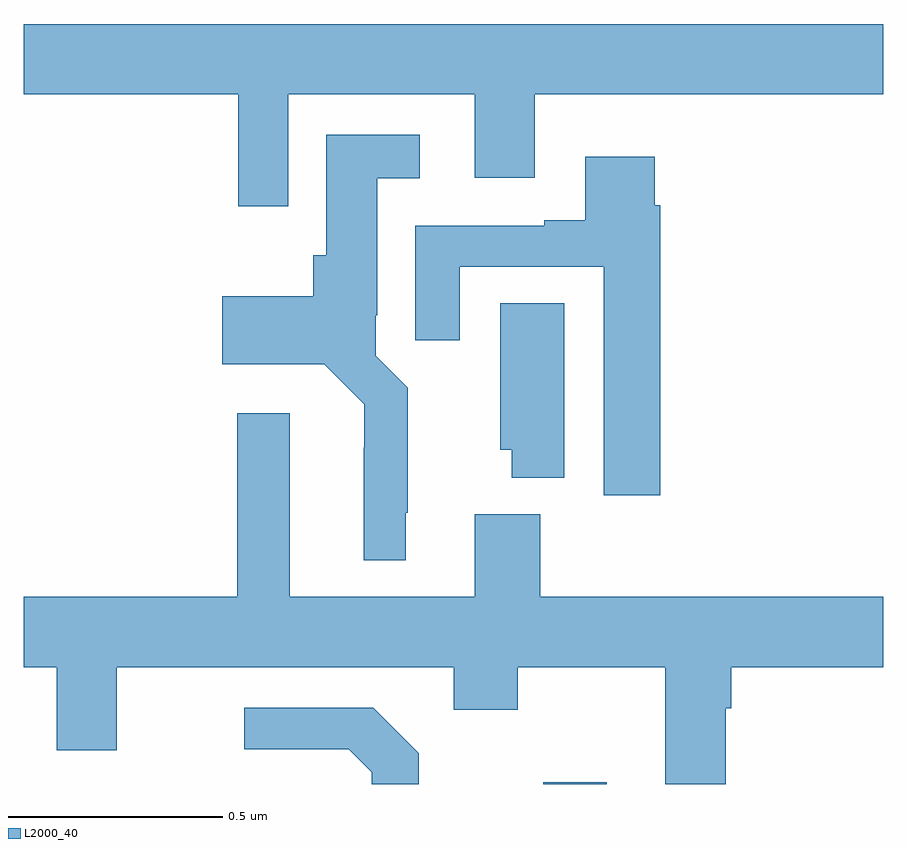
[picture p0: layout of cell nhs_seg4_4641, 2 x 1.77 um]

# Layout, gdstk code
import gdstk
lib = gdstk.Library(unit=1e-6, precision=1e-09)
def R(c, l, rs):  # rectangles x0, y0, x1, y1
    for r in rs: c.add(gdstk.rectangle(r[:2], r[2:], *l))
def P(c, l, *ps):  # polygons
    for p in ps: c.add(gdstk.Polygon(p, *l))
L2000_40 = (2000, 40)

nhs_seg4_4641 = lib.new_cell('nhs_seg4_4641')
R(nhs_seg4_4641, L2000_40, [(169.209,777.9,169.357,777.904)])
P(nhs_seg4_4641, L2000_40, [(168.615,779.504),(169.049,779.504),(169.049,779.31),(169.189,779.31),(169.189,779.504),(170,779.504),(170,779.668),(168,779.668),(168,779.504),(168.499,779.504),(168.499,779.244),(168.615,779.244)],
  [(168.889,778.531),(168.893,778.531),(168.893,778.822),(168.819,778.896),(168.819,778.99),(168.823,778.99),(168.823,779.309),(168.922,779.309),(168.922,779.41),(168.704,779.41),(168.704,779.13),(168.674,779.13),(168.674,779.035),(168.462,779.035),(168.462,778.877),(168.699,778.877),(168.792,778.784),(168.792,778.682),(168.791,778.682),(168.791,778.421),(168.889,778.421)],
  [(169.481,779.246),(169.468,779.246),(169.468,779.359),(169.307,779.359),(169.307,779.212),(169.211,779.212),(169.211,779.199),(168.911,779.199),(168.911,778.932),(169.015,778.932),(169.015,779.103),(169.349,779.103),(169.349,778.572),(169.481,778.572)],
  [(169.258,779.018),(169.109,779.018),(169.109,778.677),(169.136,778.677),(169.136,778.613),(169.258,778.613)],
  [(169.633,778.076),(169.646,778.076),(169.646,778.172),(170,778.172),(170,778.336),(169.202,778.336),(169.202,778.528),(169.049,778.528),(169.049,778.336),(168.619,778.336),(168.619,778.762),(168.497,778.762),(168.497,778.336),(168,778.336),(168,778.172),(168.077,778.172),(168.077,777.978),(168.217,777.978),(168.217,778.172),(169.001,778.172),(169.001,778.073),(169.149,778.073),(169.149,778.172),(169.493,778.172),(169.493,777.9),(169.633,777.9)],
  [(168.919,777.971),(168.813,778.077),(168.513,778.077),(168.513,777.981),(168.756,777.981),(168.81,777.927),(168.81,777.9),(168.919,777.9)])

lib.write_gds('nhs_seg4_4641.gds')
